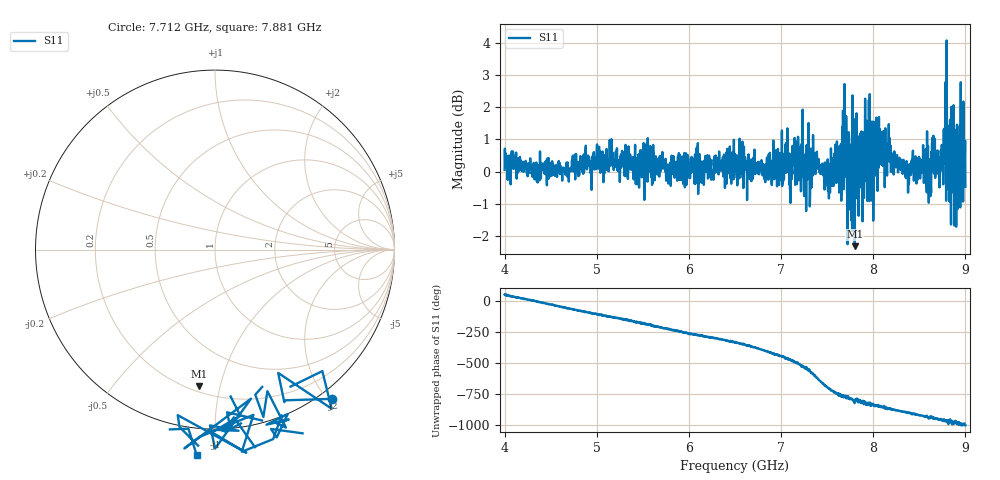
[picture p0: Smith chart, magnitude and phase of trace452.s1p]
! Created with skrf 1.8.0 (http://scikit-rf.org).
# Hz S RI R 50.0
!freq ReS11 ImS11
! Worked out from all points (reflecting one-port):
!   1601 points, 4 GHz to 9 GHz, reference 50 ohm
!   lowest |S11| = -2.3 dB at 7.8 GHz (marker M1), VSWR 7.56, Z = 11.7 - j43.2 ohm
!   phase of S11 starts at 53 deg and turns -1056 deg over the sweep
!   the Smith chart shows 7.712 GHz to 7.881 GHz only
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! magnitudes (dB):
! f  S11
! 4 GHz  0.1
! 4.625 GHz  -0.3
! 5.25 GHz  -0.3
! 5.875 GHz  -0.1
! 6.5 GHz  0.4
! 7.125 GHz  0.8
! 7.209 GHz  0.6
! 7.262 GHz  0.3
! 7.372 GHz  0.6
! 7.512 GHz  -0.2
! 7.659 GHz  -0.3
! 7.688 GHz  2.7
! 7.706 GHz  1.7
! 7.75 GHz  0.1
! 7.788 GHz  0.0
! 7.8 GHz  -2.3
! 7.909 GHz  0.6
! 7.928 GHz  0.4
! 7.981 GHz  -0.9
! 8.097 GHz  0.5
! 8.375 GHz  0.0
! 8.603 GHz  -1.0
! 8.656 GHz  0.4
! 8.738 GHz  0.4
! 8.788 GHz  0.3
! 8.875 GHz  0.9
! 8.972 GHz  0.9
! 9 GHz  -0.5
